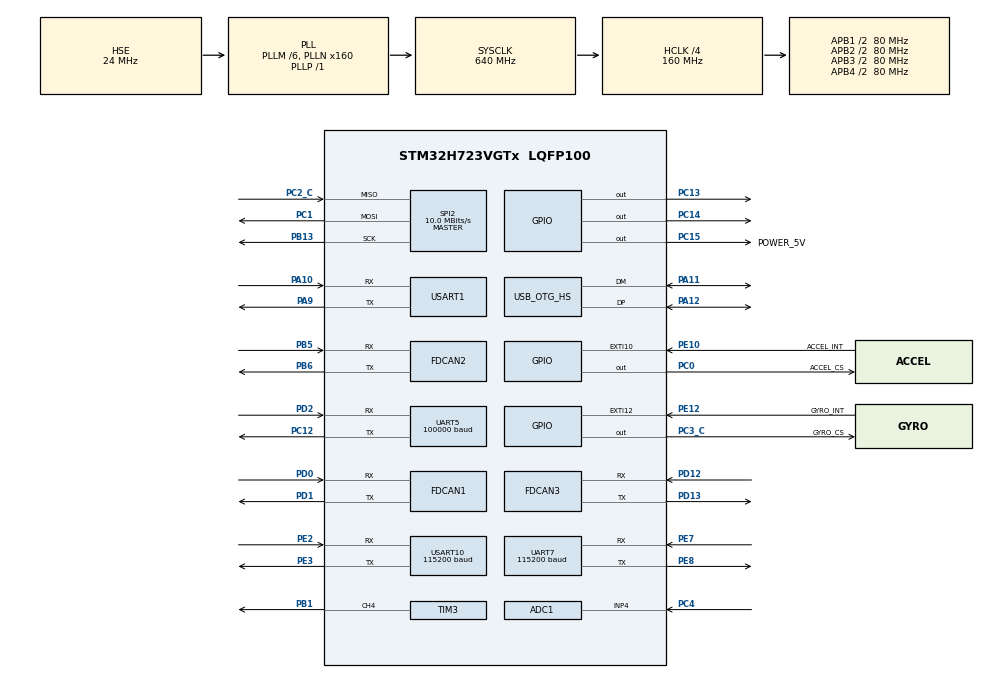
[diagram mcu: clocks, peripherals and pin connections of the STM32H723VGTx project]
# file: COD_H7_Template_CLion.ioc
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ADC1.Channel-0\#ChannelRegularConversion=ADC_CHANNEL_4
ADC1.Channel-1\#ChannelRegularConversion=ADC_CHANNEL_4
ADC1.ClockPrescaler=ADC_CLOCK_ASYNC_DIV64
ADC1.ContinuousConvMode=ENABLE
ADC1.ConversionDataManagement=ADC_CONVERSIONDATA_DMA_CIRCULAR
ADC1.NbrOfConversion=2
ADC1.NbrOfConversionFlag=1
ADC1.OffsetNumber-0\#ChannelRegularConversion=ADC_OFFSET_NONE
ADC1.OffsetNumber-1\#ChannelRegularConversion=ADC_OFFSET_NONE
ADC1.OffsetSignedSaturation-0\#ChannelRegularConversion=DISABLE
ADC1.OffsetSignedSaturation-1\#ChannelRegularConversion=DISABLE
ADC1.Rank-0\#ChannelRegularConversion=1
ADC1.Rank-1\#ChannelRegularConversion=2
ADC1.SamplingTime-0\#ChannelRegularConversion=ADC_SAMPLETIME_1CYCLE_5
ADC1.SamplingTime-1\#ChannelRegularConversion=ADC_SAMPLETIME_1CYCLE_5
ADC1.master=1
CORTEX_M7.AccessPermission_Spec=MPU_REGION_FULL_ACCESS
CORTEX_M7.BaseAddress_Spec=0x24000000
CORTEX_M7.CPU_DCache=Enabled
CORTEX_M7.CPU_ICache=Enabled
CORTEX_M7.DisableExec_Spec=MPU_INSTRUCTION_ACCESS_ENABLE
CORTEX_M7.IsShareable_Spec=MPU_ACCESS_NOT_SHAREABLE
CORTEX_M7.MPU_Control=MPU_HFNMI_PRIVDEF
CORTEX_M7.Size_Spec=MPU_REGION_SIZE_512KB
CORTEX_M7.SubRegionDisable_Spec=0x0
CORTEX_M7.TypeExtField_Spec=MPU_TEX_LEVEL1
CORTEX_M7.default_mode_Activation=1
Dma.ADC1.2.Direction=DMA_PERIPH_TO_MEMORY
Dma.ADC1.2.EventEnable=DISABLE
Dma.ADC1.2.FIFOMode=DMA_FIFOMODE_DISABLE
Dma.ADC1.2.Instance=DMA1_Stream2
Dma.ADC1.2.MemDataAlignment=DMA_MDATAALIGN_HALFWORD
Dma.ADC1.2.MemInc=DMA_MINC_ENABLE
Dma.ADC1.2.Mode=DMA_CIRCULAR
Dma.ADC1.2.PeriphDataAlignment=DMA_PDATAALIGN_HALFWORD
Dma.ADC1.2.PeriphInc=DMA_PINC_DISABLE
Dma.ADC1.2.Polarity=HAL_DMAMUX_REQ_GEN_RISING
Dma.ADC1.2.Priority=DMA_PRIORITY_LOW
Dma.ADC1.2.RequestNumber=1
Dma.ADC1.2.SignalID=NONE
Dma.ADC1.2.SyncEnable=DISABLE
Dma.ADC1.2.SyncPolarity=HAL_DMAMUX_SYNC_NO_EVENT
Dma.ADC1.2.SyncRequestNumber=1
Dma.ADC1.2.SyncSignalID=NONE
Dma.Request0=SPI2_RX
Dma.Request1=SPI2_TX
Dma.Request2=ADC1
Dma.Request3=UART5_RX
Dma.Request4=UART7_RX
Dma.Request5=UART7_TX
Dma.Request6=USART1_RX
Dma.Request7=USART1_TX
Dma.Request8=USART10_RX
Dma.Request9=USART10_TX
Dma.SPI2_RX.0.Direction=DMA_PERIPH_TO_MEMORY
Dma.SPI2_RX.0.EventEnable=DISABLE
Dma.SPI2_RX.0.FIFOMode=DMA_FIFOMODE_DISABLE
Dma.SPI2_RX.0.Instance=DMA1_Stream0
Dma.SPI2_RX.0.MemDataAlignment=DMA_MDATAALIGN_BYTE
Dma.SPI2_RX.0.MemInc=DMA_MINC_ENABLE
Dma.SPI2_RX.0.Mode=DMA_NORMAL
Dma.SPI2_RX.0.PeriphDataAlignment=DMA_PDATAALIGN_BYTE
Dma.SPI2_RX.0.PeriphInc=DMA_PINC_DISABLE
Dma.SPI2_RX.0.Polarity=HAL_DMAMUX_REQ_GEN_RISING
Dma.SPI2_RX.0.Priority=DMA_PRIORITY_VERY_HIGH
Dma.SPI2_RX.0.RequestNumber=1
Dma.SPI2_RX.0.SignalID=NONE
Dma.SPI2_RX.0.SyncEnable=DISABLE
Dma.SPI2_RX.0.SyncPolarity=HAL_DMAMUX_SYNC_NO_EVENT
Dma.SPI2_RX.0.SyncRequestNumber=1
Dma.SPI2_RX.0.SyncSignalID=NONE
Dma.SPI2_TX.1.Direction=DMA_MEMORY_TO_PERIPH
Dma.SPI2_TX.1.EventEnable=DISABLE
Dma.SPI2_TX.1.FIFOMode=DMA_FIFOMODE_DISABLE
Dma.SPI2_TX.1.Instance=DMA1_Stream1
Dma.SPI2_TX.1.MemDataAlignment=DMA_MDATAALIGN_BYTE
Dma.SPI2_TX.1.MemInc=DMA_MINC_ENABLE
Dma.SPI2_TX.1.Mode=DMA_NORMAL
Dma.SPI2_TX.1.PeriphDataAlignment=DMA_PDATAALIGN_BYTE
Dma.SPI2_TX.1.PeriphInc=DMA_PINC_DISABLE
Dma.SPI2_TX.1.Polarity=HAL_DMAMUX_REQ_GEN_RISING
Dma.SPI2_TX.1.Priority=DMA_PRIORITY_MEDIUM
Dma.SPI2_TX.1.RequestNumber=1
Dma.SPI2_TX.1.SignalID=NONE
Dma.SPI2_TX.1.SyncEnable=DISABLE
Dma.SPI2_TX.1.SyncPolarity=HAL_DMAMUX_SYNC_NO_EVENT
Dma.SPI2_TX.1.SyncRequestNumber=1
Dma.SPI2_TX.1.SyncSignalID=NONE
Dma.UART5_RX.3.Direction=DMA_PERIPH_TO_MEMORY
Dma.UART5_RX.3.EventEnable=DISABLE
Dma.UART5_RX.3.FIFOMode=DMA_FIFOMODE_DISABLE
Dma.UART5_RX.3.Instance=DMA1_Stream3
Dma.UART5_RX.3.MemDataAlignment=DMA_MDATAALIGN_BYTE
Dma.UART5_RX.3.MemInc=DMA_MINC_ENABLE
Dma.UART5_RX.3.Mode=DMA_CIRCULAR
Dma.UART5_RX.3.PeriphDataAlignment=DMA_PDATAALIGN_BYTE
Dma.UART5_RX.3.PeriphInc=DMA_PINC_DISABLE
Dma.UART5_RX.3.Polarity=HAL_DMAMUX_REQ_GEN_RISING
Dma.UART5_RX.3.Priority=DMA_PRIORITY_VERY_HIGH
Dma.UART5_RX.3.RequestNumber=1
Dma.UART5_RX.3.SignalID=NONE
Dma.UART5_RX.3.SyncEnable=DISABLE
Dma.UART5_RX.3.SyncPolarity=HAL_DMAMUX_SYNC_NO_EVENT
Dma.UART5_RX.3.SyncRequestNumber=1
Dma.UART5_RX.3.SyncSignalID=NONE
Dma.UART7_RX.4.Direction=DMA_PERIPH_TO_MEMORY
Dma.UART7_RX.4.EventEnable=DISABLE
Dma.UART7_RX.4.FIFOMode=DMA_FIFOMODE_DISABLE
Dma.UART7_RX.4.Instance=DMA1_Stream4
Dma.UART7_RX.4.MemDataAlignment=DMA_MDATAALIGN_BYTE
Dma.UART7_RX.4.MemInc=DMA_MINC_ENABLE
Dma.UART7_RX.4.Mode=DMA_CIRCULAR
Dma.UART7_RX.4.PeriphDataAlignment=DMA_PDATAALIGN_BYTE
Dma.UART7_RX.4.PeriphInc=DMA_PINC_DISABLE
Dma.UART7_RX.4.Polarity=HAL_DMAMUX_REQ_GEN_RISING
Dma.UART7_RX.4.Priority=DMA_PRIORITY_LOW
Dma.UART7_RX.4.RequestNumber=1
Dma.UART7_RX.4.SignalID=NONE
Dma.UART7_RX.4.SyncEnable=DISABLE
Dma.UART7_RX.4.SyncPolarity=HAL_DMAMUX_SYNC_NO_EVENT
Dma.UART7_RX.4.SyncRequestNumber=1
Dma.UART7_RX.4.SyncSignalID=NONE
Dma.UART7_TX.5.Direction=DMA_MEMORY_TO_PERIPH
Dma.UART7_TX.5.EventEnable=DISABLE
Dma.UART7_TX.5.FIFOMode=DMA_FIFOMODE_DISABLE
Dma.UART7_TX.5.Instance=DMA1_Stream5
Dma.UART7_TX.5.MemDataAlignment=DMA_MDATAALIGN_BYTE
Dma.UART7_TX.5.MemInc=DMA_MINC_ENABLE
Dma.UART7_TX.5.Mode=DMA_NORMAL
Dma.UART7_TX.5.PeriphDataAlignment=DMA_PDATAALIGN_BYTE
Dma.UART7_TX.5.PeriphInc=DMA_PINC_DISABLE
Dma.UART7_TX.5.Polarity=HAL_DMAMUX_REQ_GEN_RISING
Dma.UART7_TX.5.Priority=DMA_PRIORITY_LOW
Dma.UART7_TX.5.RequestNumber=1
Dma.UART7_TX.5.SignalID=NONE
Dma.UART7_TX.5.SyncEnable=DISABLE
Dma.UART7_TX.5.SyncPolarity=HAL_DMAMUX_SYNC_NO_EVENT
Dma.UART7_TX.5.SyncRequestNumber=1
Dma.UART7_TX.5.SyncSignalID=NONE
Dma.USART10_RX.8.Direction=DMA_PERIPH_TO_MEMORY
Dma.USART10_RX.8.EventEnable=DISABLE
Dma.USART10_RX.8.FIFOMode=DMA_FIFOMODE_DISABLE
Dma.USART10_RX.8.Instance=DMA2_Stream0
Dma.USART10_RX.8.MemDataAlignment=DMA_MDATAALIGN_BYTE
Dma.USART10_RX.8.MemInc=DMA_MINC_ENABLE
Dma.USART10_RX.8.Mode=DMA_NORMAL
Dma.USART10_RX.8.PeriphDataAlignment=DMA_PDATAALIGN_BYTE
Dma.USART10_RX.8.PeriphInc=DMA_PINC_DISABLE
Dma.USART10_RX.8.Polarity=HAL_DMAMUX_REQ_GEN_RISING
Dma.USART10_RX.8.Priority=DMA_PRIORITY_LOW
Dma.USART10_RX.8.RequestNumber=1
Dma.USART10_RX.8.SignalID=NONE
Dma.USART10_RX.8.SyncEnable=DISABLE
Dma.USART10_RX.8.SyncPolarity=HAL_DMAMUX_SYNC_NO_EVENT
Dma.USART10_RX.8.SyncRequestNumber=1
Dma.USART10_RX.8.SyncSignalID=NONE
Dma.USART10_TX.9.Direction=DMA_MEMORY_TO_PERIPH
Dma.USART10_TX.9.EventEnable=DISABLE
Dma.USART10_TX.9.FIFOMode=DMA_FIFOMODE_DISABLE
Dma.USART10_TX.9.Instance=DMA2_Stream1
Dma.USART10_TX.9.MemDataAlignment=DMA_MDATAALIGN_BYTE
Dma.USART10_TX.9.MemInc=DMA_MINC_ENABLE
Dma.USART10_TX.9.Mode=DMA_NORMAL
Dma.USART10_TX.9.PeriphDataAlignment=DMA_PDATAALIGN_BYTE
Dma.USART10_TX.9.PeriphInc=DMA_PINC_DISABLE
Dma.USART10_TX.9.Polarity=HAL_DMAMUX_REQ_GEN_RISING
Dma.USART10_TX.9.Priority=DMA_PRIORITY_LOW
Dma.USART10_TX.9.RequestNumber=1
Dma.USART10_TX.9.SignalID=NONE
Dma.USART10_TX.9.SyncEnable=DISABLE
Dma.USART10_TX.9.SyncPolarity=HAL_DMAMUX_SYNC_NO_EVENT
Dma.USART10_TX.9.SyncRequestNumber=1
Dma.USART10_TX.9.SyncSignalID=NONE
Dma.USART1_RX.6.Direction=DMA_PERIPH_TO_MEMORY
Dma.USART1_RX.6.EventEnable=DISABLE
Dma.USART1_RX.6.FIFOMode=DMA_FIFOMODE_DISABLE
Dma.USART1_RX.6.Instance=DMA1_Stream6
Dma.USART1_RX.6.MemDataAlignment=DMA_MDATAALIGN_BYTE
Dma.USART1_RX.6.MemInc=DMA_MINC_ENABLE
Dma.USART1_RX.6.Mode=DMA_CIRCULAR
Dma.USART1_RX.6.PeriphDataAlignment=DMA_PDATAALIGN_BYTE
Dma.USART1_RX.6.PeriphInc=DMA_PINC_DISABLE
Dma.USART1_RX.6.Polarity=HAL_DMAMUX_REQ_GEN_RISING
Dma.USART1_RX.6.Priority=DMA_PRIORITY_LOW
Dma.USART1_RX.6.RequestNumber=1
Dma.USART1_RX.6.SignalID=NONE
Dma.USART1_RX.6.SyncEnable=DISABLE
Dma.USART1_RX.6.SyncPolarity=HAL_DMAMUX_SYNC_NO_EVENT
Dma.USART1_RX.6.SyncRequestNumber=1
Dma.USART1_RX.6.SyncSignalID=NONE
Dma.USART1_TX.7.Direction=DMA_MEMORY_TO_PERIPH
Dma.USART1_TX.7.EventEnable=DISABLE
Dma.USART1_TX.7.FIFOMode=DMA_FIFOMODE_DISABLE
Dma.USART1_TX.7.Instance=DMA1_Stream7
Dma.USART1_TX.7.MemDataAlignment=DMA_MDATAALIGN_BYTE
Dma.USART1_TX.7.MemInc=DMA_MINC_ENABLE
Dma.USART1_TX.7.Mode=DMA_NORMAL
Dma.USART1_TX.7.PeriphDataAlignment=DMA_PDATAALIGN_BYTE
Dma.USART1_TX.7.PeriphInc=DMA_PINC_DISABLE
Dma.USART1_TX.7.Polarity=HAL_DMAMUX_REQ_GEN_RISING
Dma.USART1_TX.7.Priority=DMA_PRIORITY_LOW
Dma.USART1_TX.7.RequestNumber=1
Dma.USART1_TX.7.SignalID=NONE
Dma.USART1_TX.7.SyncEnable=DISABLE
Dma.USART1_TX.7.SyncPolarity=HAL_DMAMUX_SYNC_NO_EVENT
Dma.USART1_TX.7.SyncRequestNumber=1
Dma.USART1_TX.7.SyncSignalID=NONE
FDCAN1.CalculateBaudRateNominal=1000000
FDCAN1.CalculateTimeBitNominal=1000
FDCAN1.CalculateTimeQuantumNominal=50.0
FDCAN1.DataPrescaler=5
FDCAN1.DataSyncJumpWidth=5
FDCAN1.DataTimeSeg1=14
FDCAN1.DataTimeSeg2=5
FDCAN1.NominalPrescaler=5
FDCAN1.NominalSyncJumpWidth=5
FDCAN1.NominalTimeSeg1=14
FDCAN1.NominalTimeSeg2=5
FDCAN1.ProtocolException=ENABLE
FDCAN1.RxFifo0ElmtsNbr=8
FDCAN1.StdFiltersNbr=1
FDCAN1.TxFifoQueueElmtsNbr=8
FDCAN2.CalculateBaudRateNominal=1000000
FDCAN2.CalculateTimeBitNominal=1000
FDCAN2.CalculateTimeQuantumNominal=50.0
FDCAN2.DataSyncJumpWidth=5
FDCAN2.DataTimeSeg1=14
FDCAN2.DataTimeSeg2=5
FDCAN2.FrameFormat=FDCAN_FRAME_FD_BRS
FDCAN2.MessageRAMOffset=853
FDCAN2.NominalPrescaler=5
FDCAN2.NominalSyncJumpWidth=5
FDCAN2.NominalTimeSeg1=14
FDCAN2.NominalTimeSeg2=5
FDCAN2.ProtocolException=ENABLE
FDCAN2.RxFifo1ElmtsNbr=8
FDCAN2.StdFiltersNbr=1
FDCAN2.TxFifoQueueElmtsNbr=8
FDCAN3.CalculateBaudRateNominal=1000000
FDCAN3.CalculateTimeBitNominal=1000
FDCAN3.CalculateTimeQuantumNominal=50.0
FDCAN3.DataPrescaler=5
FDCAN3.DataSyncJumpWidth=5
FDCAN3.DataTimeSeg1=14
FDCAN3.DataTimeSeg2=5
FDCAN3.MessageRAMOffset=1706
FDCAN3.NominalPrescaler=5
FDCAN3.NominalSyncJumpWidth=5
FDCAN3.NominalTimeSeg1=14
FDCAN3.NominalTimeSeg2=5
FDCAN3.ProtocolException=ENABLE
FDCAN3.RxFifo0ElmtsNbr=8
FDCAN3.StdFiltersNbr=1
FDCAN3.TxFifoQueueElmtsNbr=8
FREERTOS.INCLUDE_eTaskGetState=1
FREERTOS.INCLUDE_pcTaskGetTaskName=1
FREERTOS.INCLUDE_uxTaskGetStackHighWaterMark=1
FREERTOS.INCLUDE_vTaskCleanUpResources=1
FREERTOS.INCLUDE_vTaskDelayUntil=1
FREERTOS.INCLUDE_xQueueGetMutexHolder=1
FREERTOS.INCLUDE_xSemaphoreGetMutexHolder=1
FREERTOS.INCLUDE_xTaskAbortDelay=1
FREERTOS.INCLUDE_xTaskGetCurrentTaskHandle=1
FREERTOS.INCLUDE_xTaskGetHandle=1
FREERTOS.MEMORY_ALLOCATION=2
FREERTOS.Tasks01=Start_INS_Task,2,1024,INS_Task,As weak,NULL,Static,defaultTaskBuffer,defaultTaskControlBlock
FREERTOS.configCHECK_FOR_STACK_OVERFLOW=2
FREERTOS.configENABLE_FPU=1
FREERTOS.configMAX_TASK_NAME_LEN=32
FREERTOS.configMINIMAL_STACK_SIZE=1024
FREERTOS.configTOTAL_HEAP_SIZE=65536
FREERTOS.configUSE_NEWLIB_REENTRANT=1
FREERTOS.configUSE_TRACE_FACILITY=1
Mcu.Family=STM32H7
Mcu.Name=STM32H723VGTx
Mcu.Package=LQFP100
NVIC.ADC_IRQn=true\:5\:0\:false\:false\:true\:true\:true\:true\:true
NVIC.DMA1_Stream0_IRQn=true\:5\:0\:false\:false\:true\:true\:false\:true\:true
NVIC.DMA1_Stream1_IRQn=true\:5\:0\:false\:false\:true\:true\:false\:true\:true
NVIC.DMA1_Stream2_IRQn=true\:5\:0\:false\:false\:true\:true\:false\:true\:true
NVIC.DMA1_Stream3_IRQn=true\:5\:0\:false\:false\:true\:true\:false\:true\:true
NVIC.DMA1_Stream4_IRQn=true\:5\:0\:false\:false\:true\:true\:false\:true\:true
NVIC.DMA1_Stream5_IRQn=true\:5\:0\:false\:false\:true\:true\:false\:true\:true
NVIC.DMA1_Stream6_IRQn=true\:5\:0\:false\:false\:true\:true\:false\:true\:true
NVIC.DMA1_Stream7_IRQn=true\:5\:0\:false\:false\:true\:true\:false\:true\:true
NVIC.DMA2_Stream0_IRQn=true\:5\:0\:false\:false\:true\:true\:false\:true\:true
NVIC.DMA2_Stream1_IRQn=true\:5\:0\:false\:false\:true\:true\:false\:true\:true
NVIC.FDCAN1_IT0_IRQn=true\:5\:0\:false\:false\:true\:true\:true\:true\:true
NVIC.FDCAN2_IT1_IRQn=true\:5\:0\:false\:false\:true\:true\:true\:true\:true
NVIC.FDCAN3_IT0_IRQn=true\:5\:0\:false\:false\:true\:true\:true\:true\:true
NVIC.OTG_HS_IRQn=true\:5\:0\:false\:false\:true\:true\:true\:true\:true
NVIC.PriorityGroup=NVIC_PRIORITYGROUP_4
NVIC.SPI2_IRQn=true\:5\:0\:false\:false\:true\:true\:false\:true\:true
NVIC.TIM2_IRQn=true\:15\:0\:false\:false\:true\:false\:false\:true\:true
NVIC.TimeBase=TIM2_IRQn
NVIC.TimeBaseIP=TIM2
NVIC.UART5_IRQn=true\:5\:0\:false\:false\:true\:true\:true\:true\:true
NVIC.UART7_IRQn=true\:5\:0\:false\:false\:true\:true\:true\:true\:true
NVIC.USART10_IRQn=true\:5\:0\:false\:false\:true\:true\:true\:true\:true
NVIC.USART1_IRQn=true\:5\:0\:false\:false\:true\:true\:true\:true\:true
PA10.Mode=Asynchronous
PA10.Signal=USART1_RX
PA11.Mode=Device_Only_FS
PA11.Signal=USB_OTG_HS_DM
PA12.Mode=Device_Only_FS
PA12.Signal=USB_OTG_HS_DP
PA13(JTMS/SWDIO).Mode=Serial_Wire
PA13(JTMS/SWDIO).Signal=DEBUG_JTMS-SWDIO
PA14(JTCK/SWCLK).Mode=Serial_Wire
PA14(JTCK/SWCLK).Signal=DEBUG_JTCK-SWCLK
PA9.Mode=Asynchronous
PA9.Signal=USART1_TX
PB1.Signal=S_TIM3_CH4
PB13.GPIO_Speed=GPIO_SPEED_FREQ_VERY_HIGH
PB13.Mode=Full_Duplex_Master
PB13.Signal=SPI2_SCK
PB5.GPIO_Speed=GPIO_SPEED_FREQ_HIGH
PB5.Mode=FDCAN_Activate
PB5.Signal=FDCAN2_RX
PB6.GPIO_FM6=__NULL
PB6.GPIO_Speed=GPIO_SPEED_FREQ_HIGH
PB6.Mode=FDCAN_Activate
PB6.Signal=FDCAN2_TX
PC0.GPIO_Label=ACCEL_CS
PC0.GPIO_Speed=GPIO_SPEED_FREQ_VERY_HIGH
PC0.PinState=GPIO_PIN_SET
PC0.Signal=GPIO_Output
PC1.GPIO_Speed=GPIO_SPEED_FREQ_VERY_HIGH
PC1.Mode=Full_Duplex_Master
PC1.Signal=SPI2_MOSI
PC12.Mode=Asynchronous
PC12.Signal=UART5_TX
PC13.Signal=GPIO_Output
PC14-OSC32_IN.Signal=GPIO_Output
PC15-OSC32_OUT.GPIO_Label=POWER_5V
PC15-OSC32_OUT.PinState=GPIO_PIN_SET
PC15-OSC32_OUT.Signal=GPIO_Output
PC2_C.GPIO_Speed=GPIO_SPEED_FREQ_VERY_HIGH
PC2_C.Mode=Full_Duplex_Master
PC2_C.Signal=SPI2_MISO
PC3_C.GPIO_Label=GYRO_CS
PC3_C.GPIO_Speed=GPIO_SPEED_FREQ_VERY_HIGH
PC3_C.PinState=GPIO_PIN_SET
PC3_C.Signal=GPIO_Output
PC4.Signal=ADCx_INP4
PD0.GPIO_Speed=GPIO_SPEED_FREQ_HIGH
PD0.Mode=FDCAN_Activate
PD0.Signal=FDCAN1_RX
PD1.GPIO_Speed=GPIO_SPEED_FREQ_HIGH
PD1.Mode=FDCAN_Activate
PD1.Signal=FDCAN1_TX
PD12.GPIO_Speed=GPIO_SPEED_FREQ_HIGH
PD12.Mode=FDCAN_Activate
PD12.Signal=FDCAN3_RX
PD13.GPIO_Speed=GPIO_SPEED_FREQ_HIGH
PD13.Mode=FDCAN_Activate
PD13.Signal=FDCAN3_TX
PD2.Mode=Asynchronous
PD2.Signal=UART5_RX
PE10.GPIO_Label=ACCEL_INT
PE10.Signal=GPXTI10
PE12.GPIO_Label=GYRO_INT
PE12.Signal=GPXTI12
PE2.Mode=Asynchronous
PE2.Signal=USART10_RX
PE3.Mode=Asynchronous
PE3.Signal=USART10_TX
PE7.Mode=Asynchronous
PE7.Signal=UART7_RX
PE8.Mode=Asynchronous
PE8.Signal=UART7_TX
PH0-OSC_IN.Mode=HSE-External-Oscillator
PH0-OSC_IN.Signal=RCC_OSC_IN
PH1-OSC_OUT.Mode=HSE-External-Oscillator
PH1-OSC_OUT.Signal=RCC_OSC_OUT
ProjectManager.HeapSize=0x2000
ProjectManager.StackSize=0x4000
ProjectManager.TargetToolchain=CMake
RCC.ADCCLockSelection=RCC_ADCCLKSOURCE_CLKP
RCC.ADCFreq_Value=64000000
RCC.APB1Freq_Value=80000000
RCC.APB2Freq_Value=80000000
RCC.APB3Freq_Value=80000000
RCC.APB4Freq_Value=80000000
RCC.CortexFreq_Value=640000000
RCC.D1PPRE=RCC_APB3_DIV2
RCC.D2PPRE1=RCC_APB1_DIV2
RCC.D2PPRE2=RCC_APB2_DIV2
RCC.D3PPRE=RCC_APB4_DIV2
RCC.DIVM1=6
RCC.DIVM2=24
RCC.DIVM3=24
RCC.DIVN1=160
RCC.DIVN2=200
RCC.DIVN3=160
RCC.DIVP1=1
RCC.FDCANCLockSelection=RCC_FDCANCLKSOURCE_PLL2
RCC.HCLKFreq_Value=160000000
RCC.HPRE=RCC_HCLK_DIV4
RCC.HSE_VALUE=24000000
RCC.PLLSourceVirtual=RCC_PLLSOURCE_HSE
RCC.SPI123CLockSelection=RCC_SPI123CLKSOURCE_PLL3
RCC.SYSCLKFreq_VALUE=640000000
RCC.SYSCLKSource=RCC_SYSCLKSOURCE_PLLCLK
RCC.USBCLockSelection=RCC_USBCLKSOURCE_HSI48
RCC.USBFreq_Value=48000000
SH.ADCx_INP4.0=ADC1_INP4,IN4-Single-Ended
SH.S_TIM3_CH4.0=TIM3_CH4,PWM Generation4 CH4
SPI2.BaudRatePrescaler=SPI_BAUDRATEPRESCALER_8
SPI2.CLKPhase=SPI_PHASE_2EDGE
SPI2.CLKPolarity=SPI_POLARITY_HIGH
SPI2.CalculateBaudRate=10.0 MBits/s
SPI2.DataSize=SPI_DATASIZE_8BIT
SPI2.Direction=SPI_DIRECTION_2LINES
SPI2.Mode=SPI_MODE_MASTER
SPI2.NSSPMode=SPI_NSS_PULSE_DISABLE
SPI2.VirtualType=VM_MASTER
STMicroelectronics.X-CUBE-ALGOBUILD.1.4.0.LibraryCcDSPOoLibraryJjDSPOoLibrary=true
TIM3.Channel-PWM\ Generation4\ CH4=TIM_CHANNEL_4
TIM3.Period=20000-1
TIM3.Prescaler=80-1
UART5.BaudRate=100000
UART5.Parity=PARITY_EVEN
UART5.StopBits=UART_STOPBITS_2
UART5.WordLength=WORDLENGTH_9B
UART7.BaudRate=115200
UART7.FIFOMode=FIFOMODE_ENABLE
USART1.VirtualMode-Asynchronous=VM_ASYNC
USART10.BaudRate=115200
USART10.VirtualMode=VM_ASYNC
USB_DEVICE.CLASS_NAME_HS=CDC
USB_DEVICE.VirtualMode=Cdc
USB_DEVICE.VirtualModeHS=Cdc_HS
USB_OTG_HS.VirtualMode-Device_Only_FS=Device_Only_FS
VP_FREERTOS_VS_CMSIS_V1.Mode=CMSIS_V1
VP_MEMORYMAP_VS_MEMORYMAP.Mode=CurAppReg
VP_STMicroelectronics.X-CUBE-ALGOBUILD_VS_DSPOoLibraryJjLibrary_1.4.0_1.4.0.Mode=DSPOoLibraryJjLibrary
VP_SYS_VS_tim2.Mode=TIM2
VP_USB_DEVICE_VS_USB_DEVICE_CDC_HS.Mode=CDC_HS
board=custom

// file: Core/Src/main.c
/* USER CODE BEGIN Header */
/**
  ******************************************************************************
  * @file           : main.c
  * @brief          : Main program body
  ******************************************************************************
  * @attention
  *
  * Copyright (c) 2025 STMicroelectronics.
  * All rights reserved.
  *
  * This software is licensed under terms that can be found in the LICENSE file
  * in the root directory of this software component.
  * If no LICENSE file comes with this software, it is provided AS-IS.
  *
  ******************************************************************************
  */
/* USER CODE END Header */
#include "main.h"
#include "cmsis_os.h"
#include "adc.h"
#include "dma.h"
#include "fdcan.h"
#include "memorymap.h"
#include "spi.h"
#include "tim.h"
#include "usart.h"
#include "usb_device.h"
#include "gpio.h"

/* USER CODE BEGIN Includes */
#include "bsp_mcu.h"
#include "bsp_tick.h"
#include "usart_printf_task.h"
/* USER CODE END Includes */

void SystemClock_Config(void);
void PeriphCommonClock_Config(void);
static void MPU_Config(void);
void MX_FREERTOS_Init(void);

int main(void)
{

  /* MPU Configuration--------------------------------------------------------*/
  MPU_Config();

  /* Enable the CPU Cache */

  /* Enable I-Cache---------------------------------------------------------*/
  SCB_EnableICache();

  /* Enable D-Cache---------------------------------------------------------*/
  SCB_EnableDCache();

  /* MCU Configuration--------------------------------------------------------*/

  /* Reset of all peripherals, Initializes the Flash interface and the Systick. */
  HAL_Init();

  /* USER CODE BEGIN Init */
  // 添加以下初始化
  CoreDebug->DEMCR |= CoreDebug_DEMCR_TRCENA_Msk;
  DWT->CYCCNT = 0;
  DWT->CTRL |= DWT_CTRL_CYCCNTENA_Msk;
  /* USER CODE END Init */

  /* Configure the system clock */
  SystemClock_Config();

  /* Configure the peripherals common clocks */
  PeriphCommonClock_Config();

  /* USER CODE BEGIN SysInit */
  SCB->CPACR |= ((3UL << 10*2)|(3UL << 11*2));
  /* USER CODE END SysInit */

  /* Initialize all configured peripherals */
  MX_GPIO_Init();
  MX_DMA_Init();
  MX_SPI2_Init();
  MX_ADC1_Init();
  MX_TIM3_Init();
  MX_FDCAN1_Init();
  MX_FDCAN2_Init();
  MX_FDCAN3_Init();
  MX_UART5_Init();
  MX_UART7_Init();
  MX_USART1_UART_Init();
  MX_USART10_UART_Init();
  /* USER CODE BEGIN 2 */
  // 1. 纯硬件初始化留在这里。
  // 此时系统是“聋子”，不管外面电机怎么发数据都不会进中断。
  // 你的 BMI088 可以安心使用内部的 Delay_ms 慢慢校准。
  //
  /* 【复位原因自检】
     如果串口"打一会儿就没了"，最隐蔽的一种可能是芯片复位了（比如硬件抖动、
     电源跌落、栈溢出踩到复位相关寄存器），而人眼只看到"打印停了"。
     这里把 RCC 的复位标志打出来：正常上电只会出现一次 POR/PIN，
     若运行中反复出现新的一行 RESET CAUSE，就说明板子在不停复位。
     打完立刻清标志，这样下一次复位能被准确区分。 */
  {
      const char *rst =
          __HAL_RCC_GET_FLAG(RCC_FLAG_IWDG1RST) ? "IWDG"  :
          __HAL_RCC_GET_FLAG(RCC_FLAG_WWDG1RST) ? "WWDG"  :
          __HAL_RCC_GET_FLAG(RCC_FLAG_SFTRST)   ? "SOFT"  :
          __HAL_RCC_GET_FLAG(RCC_FLAG_LPWR1RST) ? "LPWR"  :
          __HAL_RCC_GET_FLAG(RCC_FLAG_BORRST)   ? "BOR"   :
          __HAL_RCC_GET_FLAG(RCC_FLAG_PINRST)   ? "PIN"   :
          __HAL_RCC_GET_FLAG(RCC_FLAG_PORRST)   ? "POR"   : "UNKNOWN";

      dbg_printf("### RESET CAUSE: %s (RSR=0x%08lX) ###\r\n", rst, (unsigned long)RCC->RSR);
      __HAL_RCC_CLEAR_RESET_FLAGS();
  }

  // 【启动 banner：决定性分界测试】
  // 在 RTOS 启动前，用阻塞方式打一行（不经过 DMA，不可能被丢弃）。
  //   能看到这行 → 串口10 / USB-TTL / 接线 / 115200 全都正常，
  //                问题一定在任务调度或后续任务里；
  //   看不到这行 → 是硬件接线或波特率问题，跟 RTOS 无关。
  dbg_printf("\r\n### BOOT OK ### USART10 alive @115200\r\n");

  MCU_Init();

  // 【波特率自检】把算出来的 BRR 和反推波特率打出来，一眼确认串口1 配置对不对
  dbg_printf("### PCLK2=%lu Hz | USART1 BRR=%lu | real baud=%lu\r\n",
             (unsigned long)HAL_RCC_GetPCLK2Freq(),
             (unsigned long)USART1->BRR,
             (unsigned long)(HAL_RCC_GetPCLK2Freq() / (USART1->BRR ? USART1->BRR : 1)));
  /* USER CODE END 2 */

  /* Call init function for freertos objects (in cmsis_os2.c) */
  MX_FREERTOS_Init();

  /* Start scheduler */
  osKernelStart();

  /* We should never get here as control is now taken by the scheduler */

  /* Infinite loop */
  while (1)
  {

    /* USER CODE BEGIN 3 */
    // usart_printf("hello\r\n");   // 加上 \r 保证光标回到行首
    // HAL_Delay(5);            // 强行改成半秒发一次，排除洪水攻击
  }
  /* USER CODE END 3 */
}

void SystemClock_Config(void)
{
  RCC_OscInitTypeDef RCC_OscInitStruct = {0};
  RCC_ClkInitTypeDef RCC_ClkInitStruct = {0};

  /** Supply configuration update enable
  */
  HAL_PWREx_ConfigSupply(PWR_LDO_SUPPLY);

  /** Configure the main internal regulator output voltage
  */
  __HAL_PWR_VOLTAGESCALING_CONFIG(PWR_REGULATOR_VOLTAGE_SCALE1);

  while(!__HAL_PWR_GET_FLAG(PWR_FLAG_VOSRDY)) {}

  /** Initializes the RCC Oscillators according to the specified parameters
  * in the RCC_OscInitTypeDef structure.
  */
  RCC_OscInitStruct.OscillatorType = RCC_OSCILLATORTYPE_HSI48|RCC_OSCILLATORTYPE_HSI
                              |RCC_OSCILLATORTYPE_HSE;
  RCC_OscInitStruct.HSEState = RCC_HSE_ON;
  RCC_OscInitStruct.HSIState = RCC_HSI_DIV1;
  RCC_OscInitStruct.HSICalibrationValue = 64;
  RCC_OscInitStruct.HSI48State = RCC_HSI48_ON;
  RCC_OscInitStruct.PLL.PLLState = RCC_PLL_ON;
  RCC_OscInitStruct.PLL.PLLSource = RCC_PLLSOURCE_HSE;
  RCC_OscInitStruct.PLL.PLLM = 6;
  RCC_OscInitStruct.PLL.PLLN = 160;
  RCC_OscInitStruct.PLL.PLLP = 1;
  RCC_OscInitStruct.PLL.PLLQ = 2;
  RCC_OscInitStruct.PLL.PLLR = 2;
  RCC_OscInitStruct.PLL.PLLRGE = RCC_PLL1VCIRANGE_2;
  RCC_OscInitStruct.PLL.PLLVCOSEL = RCC_PLL1VCOWIDE;
  RCC_OscInitStruct.PLL.PLLFRACN = 0;
  if (HAL_RCC_OscConfig(&RCC_OscInitStruct) != HAL_OK)
  {
    Error_Handler();
  }

  /** Initializes the CPU, AHB and APB buses clocks
  */
  RCC_ClkInitStruct.ClockType = RCC_CLOCKTYPE_HCLK|RCC_CLOCKTYPE_SYSCLK
                              |RCC_CLOCKTYPE_PCLK1|RCC_CLOCKTYPE_PCLK2
                              |RCC_CLOCKTYPE_D3PCLK1|RCC_CLOCKTYPE_D1PCLK1;
  RCC_ClkInitStruct.SYSCLKSource = RCC_SYSCLKSOURCE_PLLCLK;
  RCC_ClkInitStruct.SYSCLKDivider = RCC_SYSCLK_DIV1;
  RCC_ClkInitStruct.AHBCLKDivider = RCC_HCLK_DIV4;
  RCC_ClkInitStruct.APB3CLKDivider = RCC_APB3_DIV2;
  RCC_ClkInitStruct.APB1CLKDivider = RCC_APB1_DIV2;
  RCC_ClkInitStruct.APB2CLKDivider = RCC_APB2_DIV2;
  RCC_ClkInitStruct.APB4CLKDivider = RCC_APB4_DIV2;

  if (HAL_RCC_ClockConfig(&RCC_ClkInitStruct, FLASH_LATENCY_2) != HAL_OK)
  {
    Error_Handler();
  }
}

void PeriphCommonClock_Config(void)
{
  RCC_PeriphCLKInitTypeDef PeriphClkInitStruct = {0};

  /** Initializes the peripherals clock
  */
  PeriphClkInitStruct.PeriphClockSelection = RCC_PERIPHCLK_FDCAN|RCC_PERIPHCLK_CKPER;
  PeriphClkInitStruct.PLL2.PLL2M = 24;
  PeriphClkInitStruct.PLL2.PLL2N = 200;
  PeriphClkInitStruct.PLL2.PLL2P = 2;
  PeriphClkInitStruct.PLL2.PLL2Q = 2;
  PeriphClkInitStruct.PLL2.PLL2R = 2;
  PeriphClkInitStruct.PLL2.PLL2RGE = RCC_PLL2VCIRANGE_0;
  PeriphClkInitStruct.PLL2.PLL2VCOSEL = RCC_PLL2VCOMEDIUM;
  PeriphClkInitStruct.PLL2.PLL2FRACN = 0;
  PeriphClkInitStruct.CkperClockSelection = RCC_CLKPSOURCE_HSI;
  PeriphClkInitStruct.FdcanClockSelection = RCC_FDCANCLKSOURCE_PLL2;
  if (HAL_RCCEx_PeriphCLKConfig(&PeriphClkInitStruct) != HAL_OK)
  {
    Error_Handler();
  }
}

 /* MPU Configuration */

void MPU_Config(void)
{
  MPU_Region_InitTypeDef MPU_InitStruct = {0};

  /* Disables the MPU */
  HAL_MPU_Disable();

  /** Initializes and configures the Region and the memory to be protected
  */
  MPU_InitStruct.Enable = MPU_REGION_ENABLE;
  MPU_InitStruct.Number = MPU_REGION_NUMBER0;
  MPU_InitStruct.BaseAddress = 0x24000000;
  MPU_InitStruct.Size = MPU_REGION_SIZE_512KB;
  MPU_InitStruct.SubRegionDisable = 0x0;
  MPU_InitStruct.TypeExtField = MPU_TEX_LEVEL1;
  MPU_InitStruct.AccessPermission = MPU_REGION_FULL_ACCESS;
  MPU_InitStruct.DisableExec = MPU_INSTRUCTION_ACCESS_ENABLE;
  MPU_InitStruct.IsShareable = MPU_ACCESS_NOT_SHAREABLE;
  MPU_InitStruct.IsCacheable = MPU_ACCESS_NOT_CACHEABLE;
  MPU_InitStruct.IsBufferable = MPU_ACCESS_NOT_BUFFERABLE;

  HAL_MPU_ConfigRegion(&MPU_InitStruct);
  /* Enables the MPU */
  HAL_MPU_Enable(MPU_HFNMI_PRIVDEF);

}

void HAL_TIM_PeriodElapsedCallback(TIM_HandleTypeDef *htim)
{
  if (htim->Instance == TIM2)
  {
    HAL_IncTick();
  }
}

void Error_Handler(void)
{
  __disable_irq();
  while (1)
  {
  }
}

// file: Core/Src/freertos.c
/* USER CODE BEGIN Header */
/**
  ******************************************************************************
  * File Name          : freertos.c
  * Description        : Code for freertos applications
  ******************************************************************************
  * @attention
  *
  * Copyright (c) 2025 STMicroelectronics.
  * All rights reserved.
  *
  * This software is licensed under terms that can be found in the LICENSE file
  * in the root directory of this software component.
  * If no LICENSE file comes with this software, it is provided AS-IS.
  *
  ******************************************************************************
  */
/* USER CODE END Header */

#include "FreeRTOS.h"
#include "task.h"
#include "main.h"
#include "cmsis_os.h"

/* USER CODE BEGIN Includes */
#include "CAN_Task.h"
#include "../../USER/Application/Task/Gimbal/Gimbal_Task.h"
/* USER CODE END Includes */

/* USER CODE BEGIN PTD */
#include "print_task.h"
#include "shoot_task.h"
/* USER CODE END PTD */

/* USER CODE BEGIN Variables */
// 终极防优化：删掉 const，全用 volatile，强迫分配到 RAM (.data段)
__attribute__((used)) const volatile uint32_t uxTopUsedPriority = configMAX_PRIORITIES - 1;
/* USER CODE END Variables */
osThreadId Start_INS_TaskHandle;
uint32_t defaultTaskBuffer[ 1024 ];
osStaticThreadDef_t defaultTaskControlBlock;

/* USER CODE BEGIN FunctionPrototypes */
osThreadId Start_CAN_TaskHandle;

osThreadId Start_Gimbal_TaskHandle;
uint32_t defaultTaskBuffer2[ 2048 ];
osStaticThreadDef_t defaultTaskControlBlock2;

osThreadId Print_Task_TaskHandle;
uint32_t defaultTaskBuffer1[ 1024 ];   /* 原 512：dbg_printf 里 local[192]+vsnprintf 栈占用大，-O0 下易栈溢出导致"打几秒就死"，扩容到 1024 字=4096 字节 */
osStaticThreadDef_t defaultTaskControlBlock1;

osThreadId Shoot_Task_TaskHandle;
uint32_t defaultTaskBuffer3[ 2048 ];
osStaticThreadDef_t defaultTaskControlBlock3;

/* USER CODE END FunctionPrototypes */

void INS_Task(void const * argument);

extern void MX_USB_DEVICE_Init(void);
void MX_FREERTOS_Init(void); /* (MISRA C 2004 rule 8.1) */

/* GetIdleTaskMemory prototype (linked to static allocation support) */
void vApplicationGetIdleTaskMemory( StaticTask_t **ppxIdleTaskTCBBuffer, StackType_t **ppxIdleTaskStackBuffer, uint32_t *pulIdleTaskStackSize );

/* Hook prototypes */
void vApplicationStackOverflowHook(xTaskHandle xTask, signed char *pcTaskName);

/* USER CODE BEGIN 4 */
/* 栈溢出记录：vApplicationStackOverflowHook 里不能打印（栈已经废了），
   只记名字，由 Print_Task 上报 */
volatile uint32_t g_stack_ovf_cnt = 0;
volatile char     g_stack_ovf_name[16] = {0};

void vApplicationStackOverflowHook(xTaskHandle xTask, signed char *pcTaskName)
{
   (void)xTask;
   /* 【修复】原实现是空函数：configCHECK_FOR_STACK_OVERFLOW=2 检测到溢出后
      什么也不做，任务带着被破坏的栈继续跑 —— 表现就是"跑一会儿就莫名卡死/串口不动"。
      这里至少把肇事任务名记下来，交给 Print_Task 打到串口上。 */
   g_stack_ovf_cnt++;
   if (pcTaskName != NULL)
   {
      for (uint32_t i = 0u; (i < 15u) && (pcTaskName[i] != 0); i++)
      {
         g_stack_ovf_name[i] = (char)pcTaskName[i];
      }
   }
}
/* USER CODE END 4 */

/* USER CODE BEGIN GET_IDLE_TASK_MEMORY */
static StaticTask_t xIdleTaskTCBBuffer;
static StackType_t xIdleStack[configMINIMAL_STACK_SIZE];

void vApplicationGetIdleTaskMemory( StaticTask_t **ppxIdleTaskTCBBuffer, StackType_t **ppxIdleTaskStackBuffer, uint32_t *pulIdleTaskStackSize )
{
  *ppxIdleTaskTCBBuffer = &xIdleTaskTCBBuffer;
  *ppxIdleTaskStackBuffer = &xIdleStack[0];
  *pulIdleTaskStackSize = configMINIMAL_STACK_SIZE;
  /* place for user code */
}
/* USER CODE END GET_IDLE_TASK_MEMORY */

void MX_FREERTOS_Init(void) {
  /* USER CODE BEGIN Init */
  // 强迫程序读取这个变量，彻底击碎编译器的优化机制
  volatile uint32_t dummy = uxTopUsedPriority;
  (void)dummy; // 防止报 "变量未使用" 的警告
  /* USER CODE END Init */

  /* Create the thread(s) */
  /* definition and creation of Start_INS_Task */
  osThreadStaticDef(Start_INS_Task, INS_Task, osPriorityHigh, 0, 1024, defaultTaskBuffer, &defaultTaskControlBlock);
  Start_INS_TaskHandle = osThreadCreate(osThread(Start_INS_Task), NULL);

  /* USER CODE BEGIN RTOS_THREADS */
  /* add threads, ... */

 osThreadStaticDef(Start_Gimbal_TaskHandle, Gimbal_Task, osPriorityHigh, 0, 2048, defaultTaskBuffer2, &defaultTaskControlBlock2);
  Start_Gimbal_TaskHandle = osThreadCreate(osThread(Start_Gimbal_TaskHandle), NULL);

  // // 【扩容】：把剩下的任务栈全部改成 1024，防止调用 printf 时栈底爆炸！
  // osThreadDef(Start_Control_Task,Control_Task, osPriorityNormal, 0, 1024);
  // Start_Control_TaskHandle = osThreadCreate(osThread(Start_Control_Task), NULL);

  // osThreadDef(Start_CAN_Task,CAN_Task, osPriorityNormal, 0,128);
  // Start_CAN_TaskHandle = osThreadCreate(osThread(Start_CAN_Task), NULL);

  // osThreadId Print_Task_TaskHandle;
  //
  /* 【优先级】打印/透传任务从 osPriorityLow 提到 osPriorityNormal：
     它每 5ms 还要给底盘发 0x310~0x314 五帧，优先级太低会被 1kHz 控制任务
     长期压在后面，表现为"打印一顿一顿"、底盘数据也断断续续。
     打印本身已经改成非阻塞（进环形缓冲就返回），提高优先级不会拖累控制。

     【调试期再提到 osPriorityHigh】用户要求：调试阶段串口打印优先级高一些，
     保证图传键鼠(WASD+鼠标)数据能顺畅打印、不被 1kHz 控制任务挤掉。
     打印已非阻塞，提到 High 与 INS/Gimbal/Shoot 同级，不影响实时控制。 */
  osThreadStaticDef(Print_Task_TaskHandle, Print_Task, osPriorityHigh, 0, 1024, defaultTaskBuffer1, &defaultTaskControlBlock1);
  Print_Task_TaskHandle = osThreadCreate(osThread(Print_Task_TaskHandle), NULL);

  /* 发射任务：1kHz 跑摩擦轮闭环 + 拨弹 + 自适应视觉自瞄 */
  osThreadStaticDef(Shoot_Task_TaskHandle, shoot_task, osPriorityHigh, 0, 2048, defaultTaskBuffer3, &defaultTaskControlBlock3);
  Shoot_Task_TaskHandle = osThreadCreate(osThread(Shoot_Task_TaskHandle), NULL);

  // osThreadDef(Start_Detect_Task,Detect_Task, osPriorityNormal, 0, 1024);
  // Start_Detect_TaskHandle = osThreadCreate(osThread(Start_Detect_Task), NULL);

  /* USER CODE END RTOS_THREADS */

}

/* USER CODE BEGIN Header_INS_Task */
// // /**
// //   * @brief  Function implementing the Start_INS_Task thread.
// //   * @param  argument: Not used
// //   * @retval None
// //   */
/* USER CODE END Header_INS_Task */
